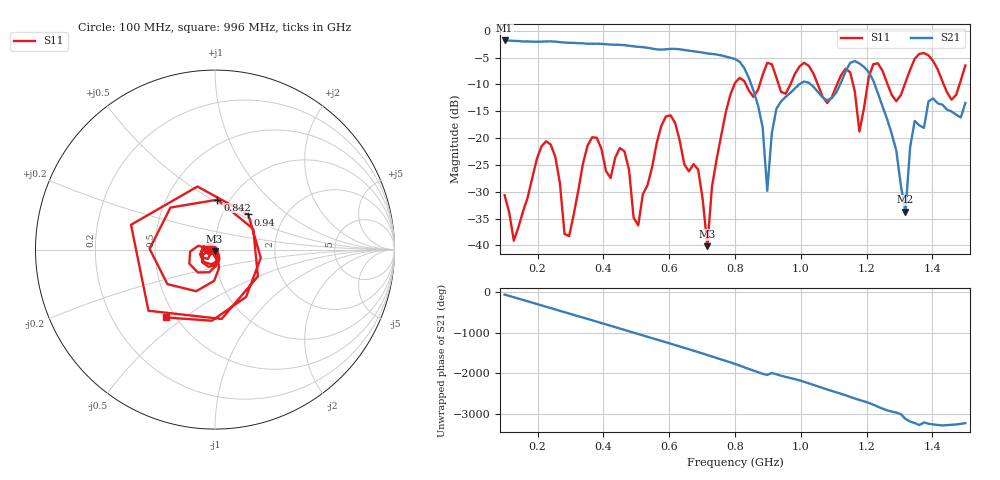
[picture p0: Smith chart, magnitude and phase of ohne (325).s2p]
! NanoVNA-App
! Date: 2025-09-25 14:23:19
! Start: 100MHz Stop: 1,5GHz Points: 101
! S-Parameter data: F S11 S21 S12 S22
# Hz S RI R 50
!  Frequency  S11_Real  S11_Imag  S21_Real  S21_Imag  S12_Real  S12_Imag  S22_Real  S22_Imag
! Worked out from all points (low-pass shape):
!   101 points, 100 MHz to 1.5 GHz, reference 50 ohm
!   highest |S21| = -1.79 dB at 100 MHz (marker M1); lowest = -33.7 dB at 1.318 GHz (marker M2)
!   |S21| within 3 dB of the highest: start of sweep to 771.9 MHz
!   lowest |S11| = -40.1 dB at 716 MHz (marker M3), VSWR 1.02, Z = 49.7 - j0.941 ohm
!   |S11| at or under -10 dB: start of sweep to 798 MHz; 833.2 MHz to 875 MHz (41.82 MHz wide, 4.9 % of centre); 1.052 GHz to 1.11 GHz (58.39 MHz wide, 5.4 % of centre)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
!   S12 and S22 are empty: the file has one direction only
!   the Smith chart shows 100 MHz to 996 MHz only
!   S11 on the Smith chart (normalised r, x): 100 MHz: 0.94, -0.01; 842 MHz: 0.88, +0.53; 940 MHz: 1.32, +0.56; 996 MHz: 0.45, -0.43
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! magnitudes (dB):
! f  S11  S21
! 100 MHz  -30.6  -1.8
! 128 MHz  -39.1  -1.9
! 226 MHz  -20.6  -2.0
! 296 MHz  -38.3  -2.2
! 338 MHz  -24.8  -2.3
! 464 MHz  -22.4  -2.7
! 506 MHz  -36.3  -3.0
! 576 MHz  -17.7  -3.5
! 688 MHz  -25.9  -3.9
! 716 MHz  -40.1  -4.2
! 800 MHz  -9.7  -5.3
! 842 MHz  -11.1  -8.8
! 898 MHz  -6.0  -29.8
! 940 MHz  -11.4  -13.2
! 996 MHz  -6.6  -9.9
! 1.038 GHz  -7.9  -10.4
! 1.178 GHz  -18.8  -6.1
! 1.22 GHz  -6.2  -9.2
! 1.276 GHz  -11.9  -19.2
! 1.318 GHz  -9.6  -33.7
! 1.346 GHz  -5.2  -16.8
! 1.5 GHz  -6.5  -13.4
